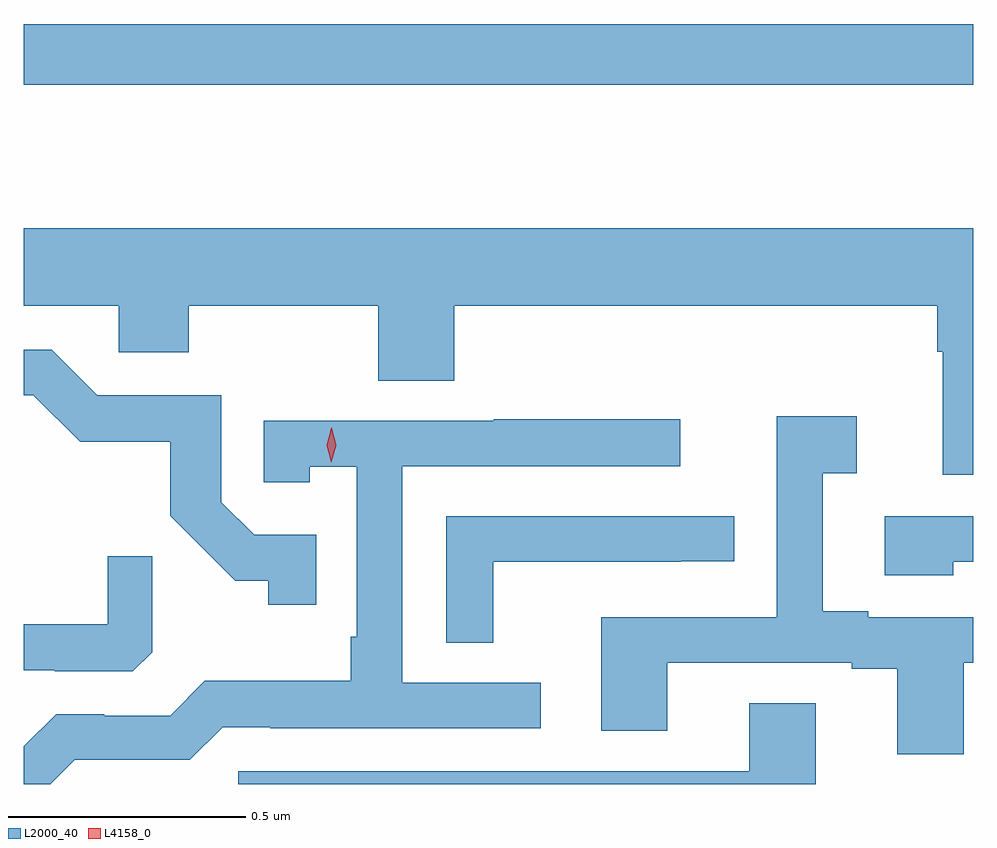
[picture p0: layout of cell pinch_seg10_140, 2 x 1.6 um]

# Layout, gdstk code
import gdstk
lib = gdstk.Library(unit=1e-6, precision=1e-09)
def R(c, l, rs):  # rectangles x0, y0, x1, y1
    for r in rs: c.add(gdstk.rectangle(r[:2], r[2:], *l))
def P(c, l, *ps):  # polygons
    for p in ps: c.add(gdstk.Polygon(p, *l))
L2000_40 = (2000, 40)
L4158_0 = (4158, 0)

pinch_seg10_140 = lib.new_cell('pinch_seg10_140')
R(pinch_seg10_140, L2000_40, [(748.999,1278.138,750.999,1278.266)])
P(pinch_seg10_140, L2000_40, [(750.999,1277.836),(748.999,1277.836),(748.999,1277.672),(749.199,1277.672),(749.199,1277.574),(749.346,1277.574),(749.346,1277.672),(749.746,1277.672),(749.746,1277.515),(749.906,1277.515),(749.906,1277.672),(750.923,1277.672),(750.923,1277.576),(750.935,1277.576),(750.935,1277.316),(750.999,1277.316)],
  [(749.615,1277.19),(749.484,1277.19),(749.415,1277.259),(749.415,1277.484),(749.154,1277.484),(749.058,1277.58),(748.999,1277.58),(748.999,1277.484),(749.019,1277.484),(749.118,1277.386),(749.307,1277.386),(749.307,1277.23),(749.444,1277.093),(749.514,1277.093),(749.514,1277.043),(749.615,1277.043)],
  [(750.979,1276.92),(750.999,1276.92),(750.999,1277.016),(750.778,1277.016),(750.778,1277.029),(750.682,1277.029),(750.682,1277.32),(750.754,1277.32),(750.754,1277.44),(750.585,1277.44),(750.585,1277.016),(750.215,1277.016),(750.215,1276.777),(750.355,1276.777),(750.355,1276.92),(750.743,1276.92),(750.743,1276.908),(750.839,1276.908),(750.839,1276.728),(750.979,1276.728)],
  [(749.106,1276.716),(749.349,1276.716),(749.418,1276.785),(749.518,1276.785),(749.518,1276.782),(750.088,1276.782),(750.088,1276.878),(749.796,1276.878),(749.796,1277.334),(750.382,1277.334),(750.382,1277.433),(749.989,1277.433),(749.989,1277.43),(749.505,1277.43),(749.505,1277.301),(749.601,1277.301),(749.601,1277.333),(749.7,1277.333),(749.7,1276.975),(749.688,1276.975),(749.688,1276.882),(749.38,1276.882),(749.307,1276.809),(749.168,1276.809),(749.168,1276.812),(749.067,1276.812),(748.999,1276.744),(748.999,1276.665),(749.055,1276.665)],
  [(749.988,1277.133),(750.383,1277.133),(750.383,1277.134),(750.496,1277.134),(750.496,1277.229),(749.889,1277.229),(749.889,1276.963),(749.988,1276.963)],
  [(750.957,1277.133),(750.999,1277.133),(750.999,1277.229),(750.813,1277.229),(750.813,1277.105),(750.957,1277.105)],
  [(749.27,1276.943),(749.27,1277.145),(749.176,1277.145),(749.176,1277.002),(748.999,1277.002),(748.999,1276.905),(749.064,1276.905),(749.064,1276.902),(749.229,1276.902)],
  [(750.667,1276.835),(750.527,1276.835),(750.527,1276.692),(749.451,1276.692),(749.451,1276.665),(750.667,1276.665)])
P(pinch_seg10_140, L4158_0, [(749.647,1277.343),(749.647,1277.343),(749.637,1277.379),(749.647,1277.414),(749.648,1277.415),(749.648,1277.414),(749.657,1277.379),(749.647,1277.343)])

lib.write_gds('pinch_seg10_140.gds')
